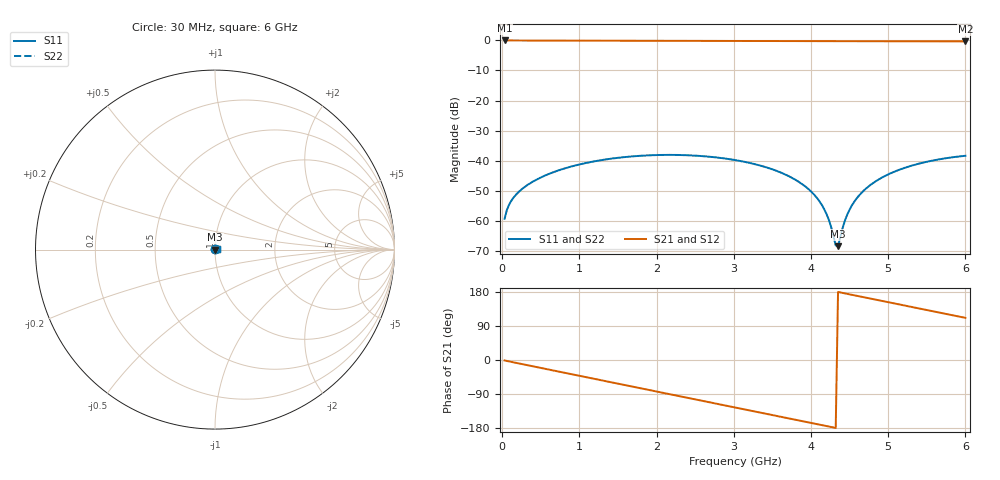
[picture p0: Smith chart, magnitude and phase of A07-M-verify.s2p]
! yapnr Order 0 O0-M: O0-M A07 M VER21 (verify, family M)
! stackup OSHPARK-4L-FR408HR, nominal parameters; geometry of the OSHPARK-4L-FR408HR design
! model: 2D quasi-static RLGC (Djordjevic-Sarkar, Huray roughness, Wheeler loss); generated by python -m yapnr.rf.coupons expected --stackup OSHPARK-4L-FR408HR --upload M
! reference planes 10 mm from each end; 50 ohm (from the M line's Zc)
# GHz S DB R 50
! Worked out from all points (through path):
!   200 points, 30 MHz to 6 GHz, reference 50 ohm
!   highest |S21| = -0.01 dB at 30 MHz (marker M1); lowest = -0.3 dB at 6 GHz (marker M2)
!   group delay of S21, straight-line fit = 115 ps
!   lowest |S11| = -68.5 dB at 4.35 GHz (marker M3), VSWR 1.00, Z = 50 + j0.00796 ohm
!   |S11| at or under -10 dB: start of sweep to end of sweep
!   |S22| runs from -68.5 to -38.1 dB; largest |S21 - S12| = 0
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0.03  -59.33 42.4  -0.01 -1.3  -0.01 -1.3  -59.33 42.4
0.06  -56.36 43.4  -0.01 -2.6  -0.01 -2.6  -56.36 43.4
0.12  -53.23 44.4  -0.02 -5.1  -0.02 -5.1  -53.23 44.4
0.3  -48.56 44.4  -0.03 -12.6  -0.03 -12.6  -48.56 44.4
0.63  -44.15 38.9  -0.05 -26.4  -0.05 -26.4  -44.15 38.9
1.05  -40.97 27.5  -0.08 -43.8  -0.08 -43.8  -40.97 27.5
1.56  -38.88 10.8  -0.11 -65.0  -0.11 -65.0  -38.88 10.8
2.04  -38.12 -6.3  -0.13 -84.9  -0.13 -84.9  -38.12 -6.3
2.52  -38.37 -23.9  -0.16 -104.8  -0.16 -104.8  -38.37 -23.9
3.03  -39.87 -43.0  -0.18 -125.9  -0.18 -125.9  -39.87 -43.0
3.63  -44.19 -64.9  -0.21 -150.7  -0.21 -150.7  -44.19 -64.9
4.02  -50.77 -76.3  -0.23 -166.9  -0.23 -166.9  -50.77 -76.3
4.2  -57.70 -74.5  -0.24 -174.3  -0.24 -174.3  -57.70 -74.5
4.26  -62.04 -65.9  -0.24 -176.8  -0.24 -176.8  -62.04 -65.9
4.32  -68.17 -28.6  -0.24 -179.3  -0.24 -179.3  -68.17 -28.6
4.35  -68.46 12.2  -0.25 179.5  -0.25 179.5  -68.46 12.2
4.44  -59.90 59.4  -0.25 175.8  -0.25 175.8  -59.90 59.4
4.56  -53.66 65.4  -0.26 170.8  -0.26 170.8  -53.66 65.4
4.74  -48.69 62.7  -0.26 163.3  -0.26 163.3  -48.69 62.7
5.01  -44.46 54.2  -0.28 152.2  -0.28 152.2  -44.46 54.2
5.46  -40.61 37.7  -0.30 133.5  -0.30 133.5  -40.61 37.7
6  -38.38 16.9  -0.32 111.2  -0.32 111.2  -38.38 16.9
